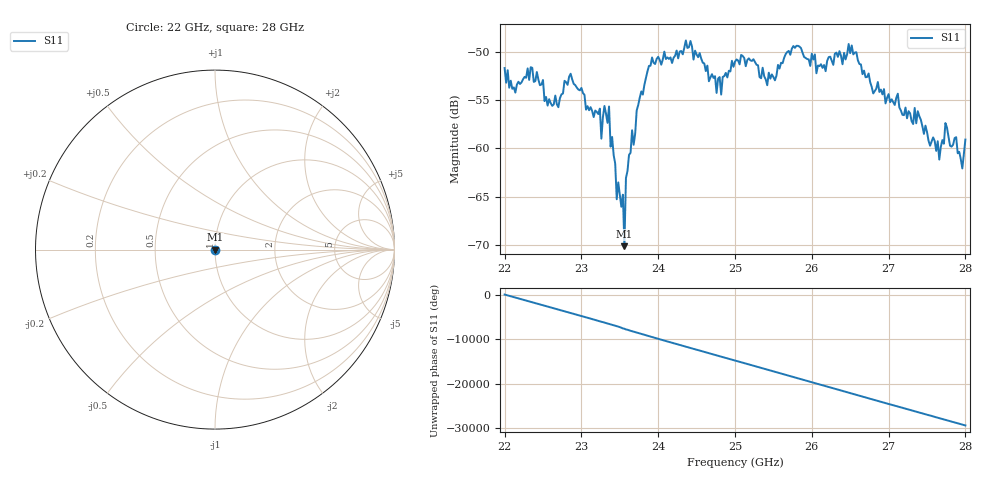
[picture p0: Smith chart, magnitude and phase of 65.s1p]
#  HZ  S  RI  R  50.00
! Rohde & Schwarz ZVA40 4Ports - Version 3.90 - 1145.1110k42 SN: 100403
! Date: 2023-10-04 08:55:21
! Measurement: S12
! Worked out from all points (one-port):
!   301 points, 22 GHz to 28 GHz, reference 50 ohm
!   lowest |S11| = -70.1 dB at 23.56 GHz (marker M1), VSWR 1.00, Z = 50 - j0.0306 ohm
!   |S11| at or under -10 dB: start of sweep to end of sweep
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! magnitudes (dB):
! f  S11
! 22 GHz  -51.7
! 22.76 GHz  -54.3
! 22.86 GHz  -52.3
! 23.24 GHz  -55.9
! 23.26 GHz  -59.0
! 23.36 GHz  -55.7
! 23.38 GHz  -59.8
! 23.4 GHz  -58.8
! 23.46 GHz  -65.3
! 23.5 GHz  -64.8
! 23.54 GHz  -64.8
! 23.56 GHz  -70.1
! 23.58 GHz  -63.1
! 23.78 GHz  -54.1
! 23.92 GHz  -50.6
! 24.26 GHz  -50.7
! 24.42 GHz  -48.9
! 24.82 GHz  -54.4
! 25 GHz  -51.0
! 25.42 GHz  -53.5
! 25.76 GHz  -49.4
! 26.06 GHz  -52.2
! 26.5 GHz  -50.2
! 27.26 GHz  -56.2
! 27.66 GHz  -61.2
! 27.74 GHz  -57.4
! 27.96 GHz  -62.1
! 28 GHz  -59.1
